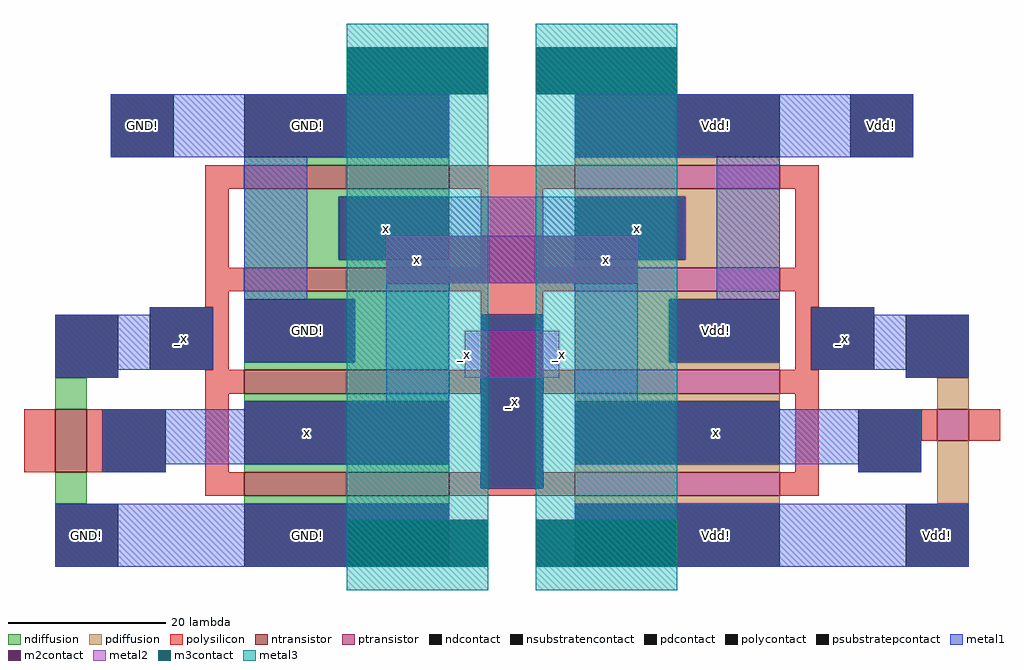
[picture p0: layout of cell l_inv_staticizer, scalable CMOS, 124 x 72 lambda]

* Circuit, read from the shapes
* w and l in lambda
.subckt l_inv_staticizer GND! Vdd! _x x
M1 _x x GND! GND! nfet w=4 l=8
M2 x _x GND! GND! nfet w=26 l=3 m=4
M3 x _x Vdd! Vdd! pfet w=26 l=3 m=4
M4 _x x Vdd! Vdd! pfet w=4 l=4
.ends

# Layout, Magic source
magic
tech scmos
<< ndiffusion >>
rect -34 113 -8 114
rect -34 109 -8 110
rect -34 101 -22 109
rect -34 100 -8 101
rect -34 96 -8 97
rect -20 88 -8 96
rect -34 87 -8 88
rect -58 82 -54 86
rect -34 83 -8 84
rect -34 74 -8 75
rect -58 70 -54 74
rect -34 70 -8 71
<< pdiffusion >>
rect 8 113 34 114
rect 8 109 34 110
rect 22 101 34 109
rect 8 100 34 101
rect 8 96 34 97
rect 8 88 20 96
rect 8 87 34 88
rect 8 83 34 84
rect 8 74 34 75
rect 54 82 58 86
rect 8 70 34 71
rect 54 70 58 78
<< ntransistor >>
rect -34 110 -8 113
rect -34 97 -8 100
rect -34 84 -8 87
rect -58 74 -54 82
rect -34 71 -8 74
<< ptransistor >>
rect 8 110 34 113
rect 8 97 34 100
rect 8 84 34 87
rect 54 78 58 82
rect 8 71 34 74
<< polysilicon >>
rect -39 110 -34 113
rect -8 110 8 113
rect 34 110 39 113
rect -39 100 -36 110
rect -4 100 4 110
rect 36 100 39 110
rect -39 97 -34 100
rect -8 97 8 100
rect 34 97 39 100
rect -39 95 -36 97
rect -38 87 -36 95
rect -4 94 4 97
rect -39 84 -34 87
rect -8 84 -4 87
rect -62 74 -58 82
rect -54 74 -52 82
rect -39 74 -36 84
rect -39 71 -34 74
rect -8 72 -4 74
rect 36 95 39 97
rect 36 87 38 95
rect 4 84 8 87
rect 34 84 39 87
rect 36 74 39 84
rect 52 78 54 82
rect 58 78 62 82
rect 4 72 8 74
rect -8 71 8 72
rect 34 71 39 74
<< ndcontact >>
rect -34 114 -8 122
rect -22 101 -8 109
rect -58 86 -50 94
rect -34 88 -20 96
rect -34 75 -8 83
rect -58 62 -50 70
rect -34 62 -8 70
<< pdcontact >>
rect 8 114 34 122
rect 8 101 22 109
rect 20 88 34 96
rect 50 86 58 94
rect 8 75 34 83
rect 8 62 34 70
rect 50 62 58 70
<< psubstratepcontact >>
rect -51 114 -43 122
<< nsubstratencontact >>
rect 43 114 51 122
<< polycontact >>
rect -46 87 -38 95
rect -52 74 -44 82
rect -4 72 4 94
rect 38 87 46 95
rect 44 74 52 82
<< metal1 >>
rect -51 114 -8 122
rect 8 114 51 122
rect -34 96 -26 114
rect -22 104 22 109
rect -22 101 -16 104
rect 16 101 22 104
rect -46 94 -38 95
rect -58 87 -38 94
rect -34 88 -20 96
rect -58 86 -50 87
rect -16 83 -8 98
rect -34 82 -8 83
rect -52 75 -8 82
rect -4 92 4 94
rect -52 74 -44 75
rect -4 72 4 86
rect 8 83 16 98
rect 26 96 34 114
rect 20 88 34 96
rect 38 94 46 95
rect 38 87 58 94
rect 50 86 58 87
rect 8 82 34 83
rect 8 75 52 82
rect 44 74 52 75
rect -58 68 -8 70
rect 8 68 58 70
rect -58 62 -21 68
rect 21 62 58 68
<< m2contact >>
rect -21 122 -3 128
rect 3 122 21 128
rect -16 98 16 104
rect -4 86 4 92
rect -21 62 -3 68
rect 3 62 21 68
<< metal2 >>
rect -16 98 16 104
rect -6 86 6 92
<< m3contact >>
rect -21 122 -3 128
rect 3 122 21 128
rect -21 62 -3 68
rect 3 62 21 68
<< metal3 >>
rect -21 59 -3 131
rect 3 59 21 131
<< labels >>
rlabel ndcontact -16 105 -16 105 1 x
rlabel ndcontact -26 79 -26 79 1 x
rlabel ndcontact -26 66 -26 66 1 GND!
rlabel ndcontact -26 92 -26 92 5 GND!
rlabel ndcontact -26 118 -26 118 5 GND!
rlabel metal1 -54 66 -54 66 1 GND!
rlabel metal1 -42 91 -42 91 1 _x
rlabel pdcontact 16 105 16 105 1 x
rlabel pdcontact 26 79 26 79 1 x
rlabel pdcontact 26 66 26 66 1 Vdd!
rlabel pdcontact 26 92 26 92 5 Vdd!
rlabel pdcontact 26 118 26 118 5 Vdd!
rlabel metal1 54 66 54 66 1 Vdd!
rlabel metal1 42 91 42 91 1 _x
rlabel space -64 61 -22 123 7 ^n
rlabel space 22 61 64 123 3 ^p
rlabel metal1 0 83 0 83 1 _x
rlabel metal2 -12 101 -12 101 1 x
rlabel metal2 12 101 12 101 1 x
rlabel metal2 -6 86 -6 92 3 _x
rlabel metal2 6 86 6 92 7 _x
rlabel metal1 47 118 47 118 1 Vdd!
rlabel metal1 -47 118 -47 118 1 GND!
<< end >>
